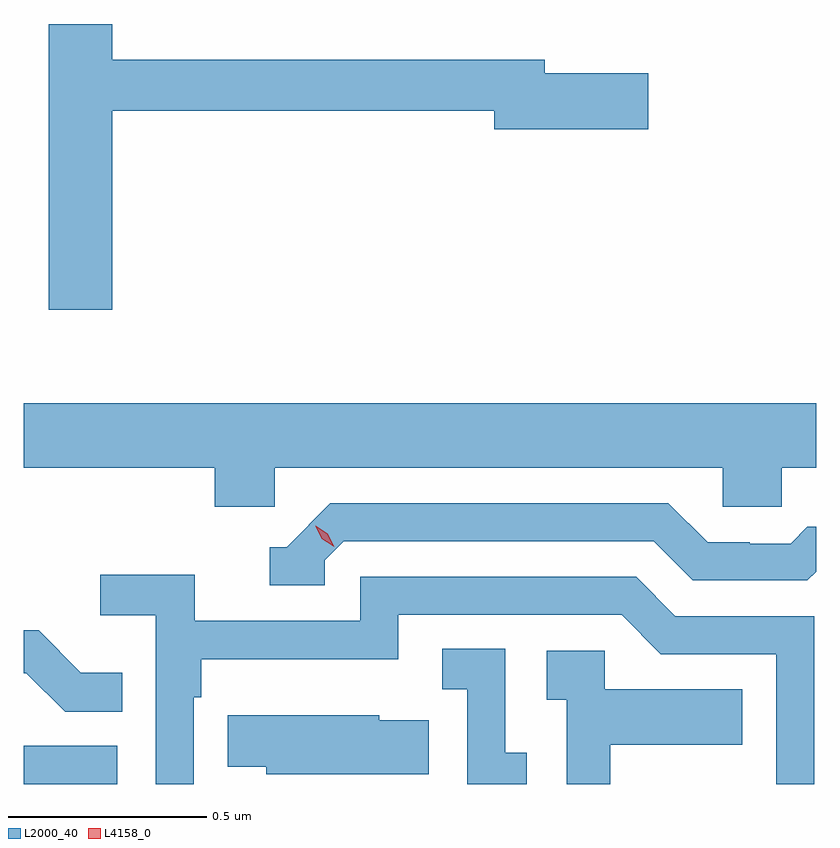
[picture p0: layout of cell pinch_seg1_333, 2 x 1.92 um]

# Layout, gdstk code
import gdstk
lib = gdstk.Library(unit=1e-6, precision=1e-09)
def R(c, l, rs):  # rectangles x0, y0, x1, y1
    for r in rs: c.add(gdstk.rectangle(r[:2], r[2:], *l))
def P(c, l, *ps):  # polygons
    for p in ps: c.add(gdstk.Polygon(p, *l))
L2000_40 = (2000, 40)
L4158_0 = (4158, 0)

pinch_seg1_333 = lib.new_cell('pinch_seg1_333')
R(pinch_seg1_333, L2000_40, [(993.327,556.262,993.562,556.359)])
P(pinch_seg1_333, L2000_40, [(993.55,557.962),(994.514,557.962),(994.514,557.915),(994.903,557.915),(994.903,558.057),(994.642,558.057),(994.642,558.091),(993.55,558.091),(993.55,558.181),(993.389,558.181),(993.389,557.46),(993.55,557.46)],
  [(993.96,557.06),(995.091,557.06),(995.091,556.962),(995.241,556.962),(995.241,557.06),(995.327,557.06),(995.327,557.224),(993.327,557.224),(993.327,557.06),(993.809,557.06),(993.809,556.962),(993.96,556.962)],
  [(994.086,556.827),(994.134,556.875),(994.917,556.875),(995.016,556.776),(995.305,556.776),(995.327,556.798),(995.327,556.912),(995.305,556.912),(995.263,556.869),(995.16,556.869),(995.16,556.872),(995.053,556.872),(994.954,556.971),(994.101,556.971),(993.99,556.86),(993.947,556.86),(993.947,556.764),(994.086,556.764)],
  [(993.756,556.481),(993.775,556.481),(993.775,556.577),(994.272,556.577),(994.272,556.689),(994.836,556.689),(994.935,556.59),(995.226,556.59),(995.226,556.262),(995.322,556.262),(995.322,556.686),(994.972,556.686),(994.873,556.785),(994.176,556.785),(994.176,556.674),(993.758,556.674),(993.758,556.79),(993.519,556.79),(993.519,556.688),(993.66,556.688),(993.66,556.262),(993.756,556.262)],
  [(993.575,556.543),(993.471,556.543),(993.364,556.65),(993.327,556.65),(993.327,556.542),(993.333,556.542),(993.431,556.444),(993.575,556.444)],
  [(994.597,556.341),(994.542,556.341),(994.542,556.604),(994.383,556.604),(994.383,556.501),(994.446,556.501),(994.446,556.262),(994.597,556.262)],
  [(994.807,556.361),(995.141,556.361),(995.141,556.501),(994.794,556.501),(994.794,556.599),(994.647,556.599),(994.647,556.475),(994.698,556.475),(994.698,556.262),(994.807,556.262)],
  [(994.349,556.423),(994.224,556.423),(994.224,556.435),(993.841,556.435),(993.841,556.306),(993.939,556.306),(993.939,556.286),(994.349,556.286)])
P(pinch_seg1_333, L4158_0, [(994.11,556.861),(994.079,556.881),(994.064,556.913),(994.064,556.914),(994.064,556.914),(994.094,556.894),(994.11,556.861),(994.11,556.861)])

lib.write_gds('pinch_seg1_333.gds')
